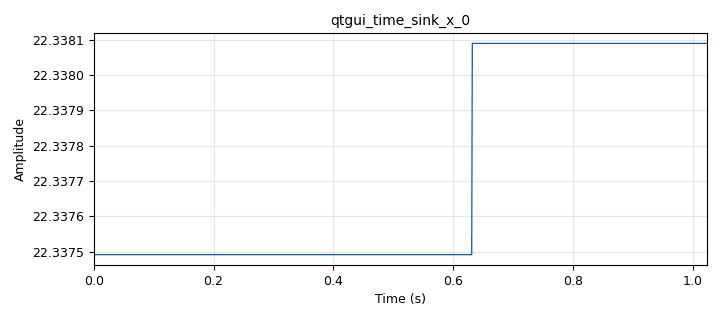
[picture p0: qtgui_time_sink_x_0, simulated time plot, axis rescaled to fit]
options:
  parameters:
    generate_options: qt_gui
    id: Ejer9FiinodB
    output_language: python
    title: Not titled yet
  states: {}

blocks:
- name: samp_rate
  id: variable
  parameters:
    value: '32000'
  states: {}
- name: analog_sig_source_x_0
  id: analog_sig_source_x
  parameters:
    amp: '1'
    freq: '100'
    offset: '0'
    phase: '0'
    samp_rate: '1000'
    type: float
    waveform: analog.GR_COS_WAVE
  states: {}
- name: blocks_divide_xx_0
  id: blocks_divide_xx
  parameters:
    type: float
  states: {}
- name: blocks_multiply_const_vxx_0
  id: blocks_multiply_const_vxx
  parameters:
    const: '10'
    type: float
  states: {}
- name: blocks_nlog10_ff_0
  id: blocks_nlog10_ff
  parameters:
    k: '1'
  states: {}
- name: blocks_sub_xx_0
  id: blocks_sub_xx
  parameters:
    type: float
  states: {}
- name: blocks_throttle2_0
  id: blocks_throttle2
  parameters:
    samples_per_second: '1000'
    type: float
  states: {}
- name: channels_quantizer_0
  id: channels_quantizer
  parameters:
    bits: '2'
  states: {}
- name: epy_block_0
  id: epy_block
  parameters:
    _source_code: |
      import numpy as np
      from gnuradio import gr

      class blk(gr.sync_block):
          def __init__(self):
              gr.sync_block.__init__(
                  self,
                  name='Potencia media',
                  in_sig=[np.float32],
                  out_sig=[np.float32]
              )

          def work(self, input_items, output_items):
              prom_cuadratico = np.mean(input_items[0] ** 2)
              prom_vec = np.repeat(prom_cuadratico, len(output_items[0]))
              output_items[0][:] = prom_vec
              return len(output_items[0])
  states: {}
- name: epy_block_0_0
  id: epy_block
  parameters:
    _source_code: |
      import numpy as np
      from gnuradio import gr

      class blk(gr.sync_block):
          def __init__(self):
              gr.sync_block.__init__(
                  self,
                  name='Potencia media',
                  in_sig=[np.float32],
                  out_sig=[np.float32]
              )

          def work(self, input_items, output_items):
              prom_cuadratico = np.mean(input_items[0] ** 2)
              prom_vec = np.repeat(prom_cuadratico, len(output_items[0]))
              output_items[0][:] = prom_vec
              return len(output_items[0])
  states: {}
- name: qtgui_time_sink_x_0
  id: qtgui_time_sink_x
  parameters:
    size: '1024'
    srate: '1000'
    type: float
  states: {}

connections:
- [analog_sig_source_x_0, '0', blocks_throttle2_0, '0']
- [blocks_divide_xx_0, '0', blocks_nlog10_ff_0, '0']
- [blocks_multiply_const_vxx_0, '0', qtgui_time_sink_x_0, '0']
- [blocks_nlog10_ff_0, '0', blocks_multiply_const_vxx_0, '0']
- [blocks_sub_xx_0, '0', epy_block_0_0, '0']
- [blocks_throttle2_0, '0', blocks_sub_xx_0, '0']
- [blocks_throttle2_0, '0', channels_quantizer_0, '0']
- [blocks_throttle2_0, '0', epy_block_0, '0']
- [channels_quantizer_0, '0', blocks_sub_xx_0, '1']
- [epy_block_0, '0', blocks_divide_xx_0, '0']
- [epy_block_0_0, '0', blocks_divide_xx_0, '1']

metadata:
  file_format: 1
  grc_version: 3.10.12.0
